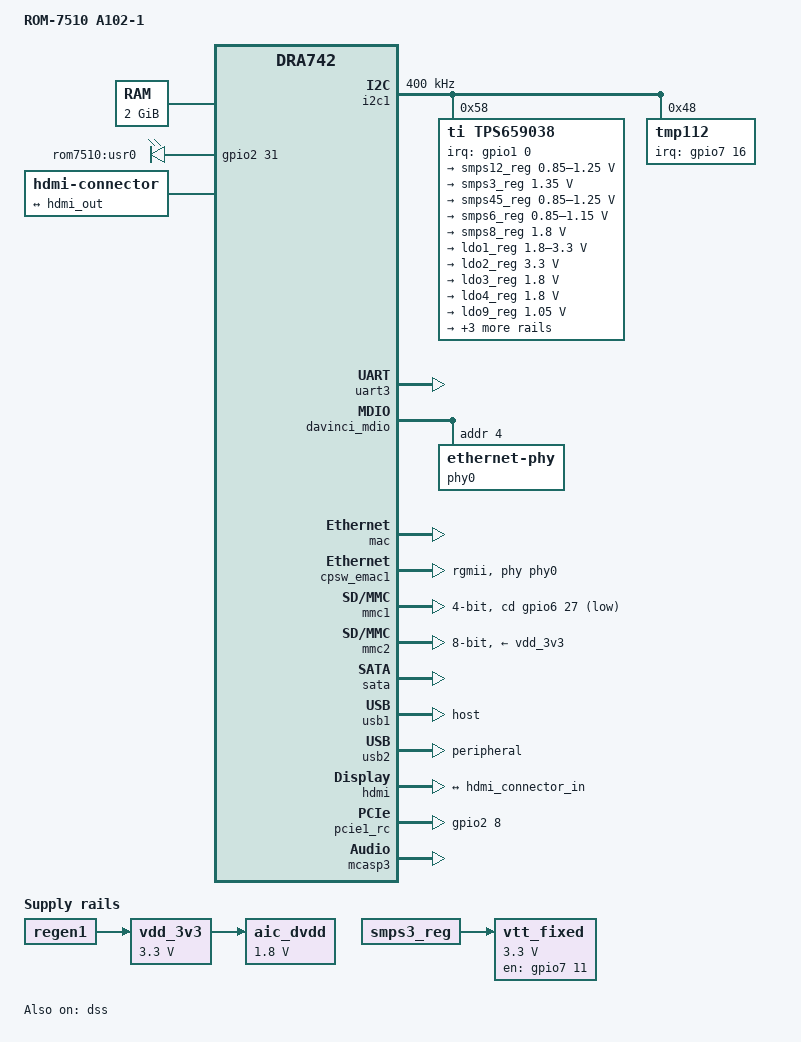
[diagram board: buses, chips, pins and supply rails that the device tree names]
/*
 * Copyright (C) 2014-2016 Texas Instruments Incorporated - http://www.ti.com/
 *
 * This program is free software; you can redistribute it and/or modify
 * it under the terms of the GNU General Public License version 2 as
 * published by the Free Software Foundation.
 */
/dts-v1/;

#include "dra74x.dtsi"
#include "am57xx-commercial-grade.dtsi"
#include "dra74x-adv-iodelay.dtsi"
#include <dt-bindings/gpio/gpio.h>
#include <dt-bindings/interrupt-controller/irq.h>

/ {
	model = "ROM-7510 A102-1";
	compatible = "ti,am572x-beagle-x15", "ti,am5728", "ti,dra742", "ti,dra74", "ti,dra7";

	aliases {
		rtc0 = &mcp_rtc;
		rtc2 = &rtc;
		display0 = &hdmi0;
	};

	chosen {
		stdout-path = &uart3;
	};

	memory@0 {
		device_type = "memory";
		reg = <0x0 0x80000000 0x0 0x80000000>;
	};

	vdd_3v3: fixedregulator-vdd_3v3 {
		compatible = "regulator-fixed";
		regulator-name = "vdd_3v3";
		vin-supply = <&regen1>;
		regulator-min-microvolt = <3300000>;
		regulator-max-microvolt = <3300000>;
	};

	aic_dvdd: fixedregulator-aic_dvdd {
		compatible = "regulator-fixed";
		regulator-name = "aic_dvdd_fixed";
		vin-supply = <&vdd_3v3>;
		regulator-min-microvolt = <1800000>;
		regulator-max-microvolt = <1800000>;
	};

	vtt_fixed: fixedregulator-vtt {
		/* TPS51200 */
		compatible = "regulator-fixed";
		regulator-name = "vtt_fixed";
		vin-supply = <&smps3_reg>;
		regulator-min-microvolt = <3300000>;
		regulator-max-microvolt = <3300000>;
		regulator-always-on;
		regulator-boot-on;
		enable-active-high;
		gpio = <&gpio7 11 GPIO_ACTIVE_HIGH>;
	};

	leds {
		compatible = "gpio-leds";

		led0 {
			label = "rom7510:usr0";
			gpios = <&gpio2 31 GPIO_ACTIVE_HIGH>;
			linux,default-trigger = "mmc0";
			default-state = "off";
		};
	};

	hdmi0: connector {
		compatible = "hdmi-connector";
		label = "hdmi";

		type = "a";

		port {
			hdmi_connector_in: endpoint {
				remote-endpoint = <&hdmi_out>;
			};
		};
	};

	sound0: sound0 {
		compatible = "simple-audio-card";
		simple-audio-card,name = "BeagleBoard-X15";
		simple-audio-card,widgets =
			"Headphone", "Headphone Jack",
			"Microphone", "Mic Jack";
		simple-audio-card,routing =
			"Headphone Jack", "HPLOUT",
			"Headphone Jack", "HPROUT",
			"MIC3R",	"Mic Jack",
			"Mic Jack", "Mic Bias";
		simple-audio-card,format = "dsp_b";
		simple-audio-card,bitclock-master = <&sound0_master>;
		simple-audio-card,frame-master = <&sound0_master>;
		simple-audio-card,bitclock-inversion;

		simple-audio-card,cpu {
			sound-dai = <&mcasp3>;
		};

		sound0_master: simple-audio-card,codec {
			clocks = <&clkout2_clk>;
		};
	};
};

&i2c1 {
	status = "okay";
	clock-frequency = <400000>;

	tps659038: tps659038@58 {
		compatible = "ti,tps659038";
		reg = <0x58>;
		interrupt-parent = <&gpio1>;
		interrupts = <0 IRQ_TYPE_LEVEL_LOW>;

		#interrupt-cells = <2>;
		interrupt-controller;

		ti,system-power-controller;
		ti,palmas-override-powerhold;

		tps659038_pmic {
			compatible = "ti,tps659038-pmic";

			regulators {
				smps12_reg: smps12 {
					/* VDD_MPU */
					regulator-name = "smps12";
					regulator-min-microvolt = < 850000>;
					regulator-max-microvolt = <1250000>;
					regulator-always-on;
					regulator-boot-on;
				};

				smps3_reg: smps3 {
					/* VDD_DDR */
					regulator-name = "smps3";
					regulator-min-microvolt = <1350000>;
					regulator-max-microvolt = <1350000>;
					regulator-always-on;
					regulator-boot-on;
				};

				smps45_reg: smps45 {
					/* VDD_DSPEVE, VDD_IVA, VDD_GPU */
					regulator-name = "smps45";
					regulator-min-microvolt = < 850000>;
					regulator-max-microvolt = <1250000>;
					regulator-always-on;
					regulator-boot-on;
				};

				smps6_reg: smps6 {
					/* VDD_CORE */
					regulator-name = "smps6";
					regulator-min-microvolt = <850000>;
					regulator-max-microvolt = <1150000>;
					regulator-always-on;
					regulator-boot-on;
				};

				/* SMPS7 unused */

				smps8_reg: smps8 {
					/* VDD_1V8 */
					regulator-name = "smps8";
					regulator-min-microvolt = <1800000>;
					regulator-max-microvolt = <1800000>;
					regulator-always-on;
					regulator-boot-on;
				};

				/* SMPS9 unused */

				ldo1_reg: ldo1 {
					/* VDD_SD / VDDSHV8  */
					regulator-name = "ldo1";
					regulator-min-microvolt = <1800000>;
					regulator-max-microvolt = <3300000>;
					regulator-boot-on;
					regulator-always-on;
				};

				ldo2_reg: ldo2 {
					/* VDD_SHV5 */
					regulator-name = "ldo2";
					regulator-min-microvolt = <3300000>;
					regulator-max-microvolt = <3300000>;
					regulator-always-on;
					regulator-boot-on;
				};

				ldo3_reg: ldo3 {
					/* VDDA_1V8_PHYA */
					regulator-name = "ldo3";
					regulator-min-microvolt = <1800000>;
					regulator-max-microvolt = <1800000>;
					regulator-always-on;
					regulator-boot-on;
				};

				ldo4_reg: ldo4 {
					/* VDDA_1V8_PHYB */
					regulator-name = "ldo4";
					regulator-min-microvolt = <1800000>;
					regulator-max-microvolt = <1800000>;
					regulator-always-on;
					regulator-boot-on;
				};

				ldo9_reg: ldo9 {
					/* VDD_RTC */
					regulator-name = "ldo9";
					regulator-min-microvolt = <1050000>;
					regulator-max-microvolt = <1050000>;
					regulator-always-on;
					regulator-boot-on;
				};

				ldoln_reg: ldoln {
					/* VDDA_1V8_PLL */
					regulator-name = "ldoln";
					regulator-min-microvolt = <1800000>;
					regulator-max-microvolt = <1800000>;
					regulator-always-on;
					regulator-boot-on;
				};

				ldousb_reg: ldousb {
					/* VDDA_3V_USB: VDDA_USBHS33 */
					regulator-name = "ldousb";
					regulator-min-microvolt = <3300000>;
					regulator-max-microvolt = <3300000>;
					regulator-boot-on;
				};

				regen1: regen1 {
					/* VDD_3V3_ON */
					regulator-name = "regen1";
					regulator-boot-on;
					regulator-always-on;
				};
			};
		};
		extcon_usb1: tps659038_usb {
			compatible = "ti,palmas-usb-vid";
			ti,enable-vbus-detection;
			vbus-gpio = <&gpio2 2 GPIO_ACTIVE_HIGH>;
		};
	};

	tmp112: tmp112@48 {
		compatible = "tmp112";
		reg = <0x48>;
		interrupt-parent = <&gpio7>;
		interrupts = <16 IRQ_TYPE_LEVEL_LOW>;
	};
};

&i2c3 {
	status = "disable";
	clock-frequency = <100000>;

	mcp_rtc: rtc@6f {
		compatible = "microchip,mcp7941x";
		reg = <0x6f>;
		interrupts-extended = <&crossbar_mpu GIC_SPI 2 IRQ_TYPE_EDGE_RISING>,
				      <&dra7_pmx_core 0x424>;
		interrupt-names = "irq", "wakeup";

		vcc-supply = <&vdd_3v3>;
		wakeup-source;
	};
};

&gpio7 {
	ti,no-reset-on-init;
	ti,no-idle-on-init;
};

&cpu0 {
	cpu0-supply = <&smps12_reg>;
	voltage-tolerance = <1>;
};

&uart3 {
	status = "okay";
	interrupts-extended = <&crossbar_mpu GIC_SPI 69 IRQ_TYPE_LEVEL_HIGH>,
			      <&dra7_pmx_core 0x3f8>;
};

&davinci_mdio {
	phy0: ethernet-phy@1 {
		reg = <4>;
	};
};

&mac {
	status = "okay";
	active_slave = <1>;
	/delete-property/ dual_emac;
	/*dual_emac;*/
};

&cpsw_emac1 {
	phy-handle = <&phy0>;
	phy-mode = "rgmii";
	dual_emac_res_vlan = <1>;
};

&mmc1 {
	status = "okay";

	pinctrl-names = "default";
	pinctrl-0 = <&mmc1_pins_default>;

	max-frequency = <24000000>;
	bus-width = <4>;
	cd-gpios = <&gpio6 27 GPIO_ACTIVE_LOW>; /* gpio 219 */
};

&mmc2 {
	status = "okay";

	pinctrl-names = "default";
	pinctrl-0 = <&mmc2_pins_default>;

	vmmc-supply = <&vdd_3v3>;
	bus-width = <8>;
	ti,non-removable;
	cap-mmc-dual-data-rate;
};

&sata {
	status = "okay";
};

&usb2_phy1 {
	phy-supply = <&ldousb_reg>;
};

&usb2_phy2 {
	phy-supply = <&ldousb_reg>;
};

&omap_dwc3_1 {
	extcon = <&extcon_usb1>;
};

&usb1 {
	dr_mode = "host";
};

&usb2 {
	/*
	 * Stand alone usage is peripheral only.
	 * However, with some resistor modifications
	 * this port can be used via expansion connectors
	 * as "host" or "dual-role". If so, provide
	 * the necessary dr_mode override in the expansion
	 * board's DT.
	 */
	dr_mode = "peripheral";
};

&cpu_trips {
	cpu_alert1: cpu_alert1 {
		temperature = <50000>; /* millicelsius */
		hysteresis = <2000>; /* millicelsius */
		type = "active";
	};
};

&cpu_cooling_maps {
	map1 {
		trip = <&cpu_alert1>;
	};
};

&thermal_zones {
	board_thermal: board_thermal {
		polling-delay-passive = <1250>; /* milliseconds */
		polling-delay = <1500>; /* milliseconds */

				/* sensor       ID */
		thermal-sensors = <&tmp112     0>;

		board_trips: trips {
			board_alert0: board_alert {
				temperature = <40000>; /* millicelsius */
				hysteresis = <2000>; /* millicelsius */
				type = "active";
			};

			board_crit: board_crit {
				temperature = <105000>; /* millicelsius */
				hysteresis = <0>; /* millicelsius */
				type = "critical";
			};
		};

		board_cooling_maps: cooling-maps {
			map0 {
				trip = <&board_alert0>;
			};
		};
       };
};

&dss {
	status = "ok";

	vdda_video-supply = <&ldoln_reg>;
};

&hdmi {
	status = "ok";
	vdda-supply = <&ldo4_reg>;

	port {
		hdmi_out: endpoint {
			remote-endpoint = <&hdmi_connector_in>;
		};
	};
};

&pcie1_rc {
	status = "ok";
	gpios = <&gpio2 8 GPIO_ACTIVE_LOW>;
};

&pcie1_ep {
	gpios = <&gpio2 8 GPIO_ACTIVE_LOW>;
};

&mcasp3 {
	#sound-dai-cells = <0>;
	assigned-clocks = <&mcasp3_ahclkx_mux>;
	assigned-clock-parents = <&sys_clkin2>;
	status = "okay";

	op-mode = <0>;	/* MCASP_IIS_MODE */
	tdm-slots = <2>;
	/* 4 serializers */
	serial-dir = <	/* 0: INACTIVE, 1: TX, 2: RX */
		2 1 0 0
	>;
	tx-num-evt = <32>;
	rx-num-evt = <32>;
};

&mailbox5 {
	status = "okay";
	mbox_ipu1_ipc3x: mbox_ipu1_ipc3x {
		status = "okay";
	};
	mbox_dsp1_ipc3x: mbox_dsp1_ipc3x {
		status = "okay";
	};
};

&mailbox6 {
	status = "okay";
	mbox_ipu2_ipc3x: mbox_ipu2_ipc3x {
		status = "okay";
	};
	mbox_dsp2_ipc3x: mbox_dsp2_ipc3x {
		status = "okay";
	};
};

